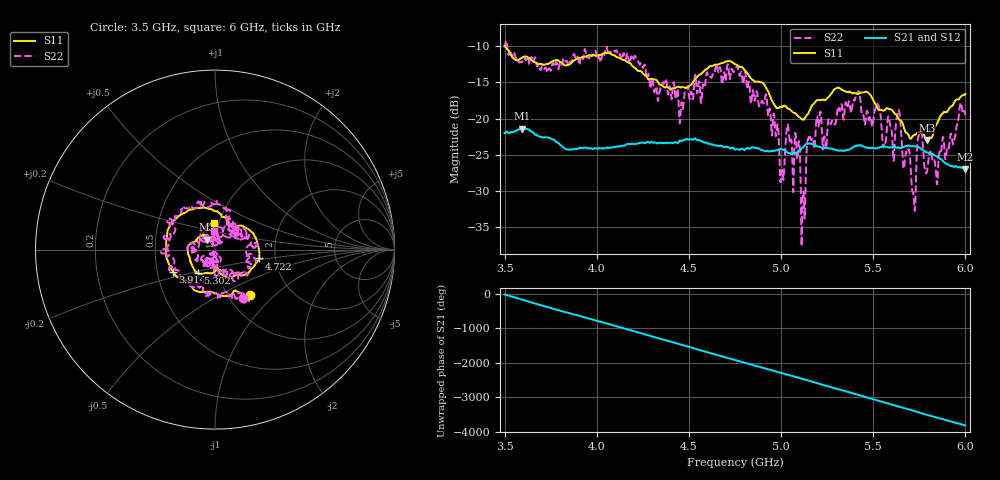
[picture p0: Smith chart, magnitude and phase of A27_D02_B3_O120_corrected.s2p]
! Created with skrf 1.9.0 (http://scikit-rf.org).
# Hz S RI R 50.0
!freq ReS11 ImS11 ReS21 ImS21 ReS12 ImS12 ReS22 ImS22
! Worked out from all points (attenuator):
!   1601 points, 3.5 GHz to 6 GHz, reference 50 ohm
!   highest |S21| = -21.37 dB at 3.594 GHz (marker M1); lowest = -26.9 dB at 6 GHz (marker M2)
!   lowest |S11| = -23.0 dB at 5.791 GHz (marker M3), VSWR 1.15, Z = 45.5 + j5.08 ohm
!   |S11| at or under -10 dB: 3.503 GHz to end of sweep
!   |S22| runs from -37.6 to -9.2 dB; largest |S21 - S12| = 0.00095
!   S11 on the Smith chart (normalised r, x): 3.5 GHz: 1.25, -0.71; 3.914 GHz: 0.61, -0.16; 4.722 GHz: 1.64, -0.17; 5.302 GHz: 0.80, -0.21; 6 GHz: 0.95, +0.29
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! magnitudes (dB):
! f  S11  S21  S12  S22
! 3.5 GHz  -9.9  -22.0  -22.0  -10.2
! 3.594 GHz  -11.6  -21.4  -21.4  -12.2
! 3.914 GHz  -11.6  -24.0  -24.0  -11.4
! 3.917 GHz  -11.5  -24.1  -24.1  -11.3
! 4.334 GHz  -15.1  -23.4  -23.3  -17.3
! 4.722 GHz  -12.1  -24.1  -24.1  -14.6
! 4.75 GHz  -12.5  -24.3  -24.2  -13.1
! 4.927 GHz  -16.1  -24.4  -24.4  -18.7
! 5.005 GHz  -18.3  -24.2  -24.3  -27.2
! 5.034 GHz  -18.5  -24.7  -24.6  -20.9
! 5.088 GHz  -19.5  -24.7  -24.7  -25.6
! 5.119 GHz  -20.1  -24.0  -23.9  -30.2
! 5.147 GHz  -19.3  -23.5  -23.5  -22.8
! 5.167 GHz  -18.2  -23.5  -23.5  -22.9
! 5.302 GHz  -15.8  -24.3  -24.3  -19.7
! 5.416 GHz  -16.6  -23.7  -23.8  -16.4
! 5.584 GHz  -18.7  -24.0  -24.0  -19.7
! 5.639 GHz  -20.0  -24.0  -24.0  -18.8
! 5.719 GHz  -22.3  -23.8  -23.8  -30.6
! 5.752 GHz  -21.9  -24.1  -24.0  -21.8
! 5.791 GHz  -23.0  -24.6  -24.6  -27.4
! 6 GHz  -16.6  -26.9  -26.9  -19.5
